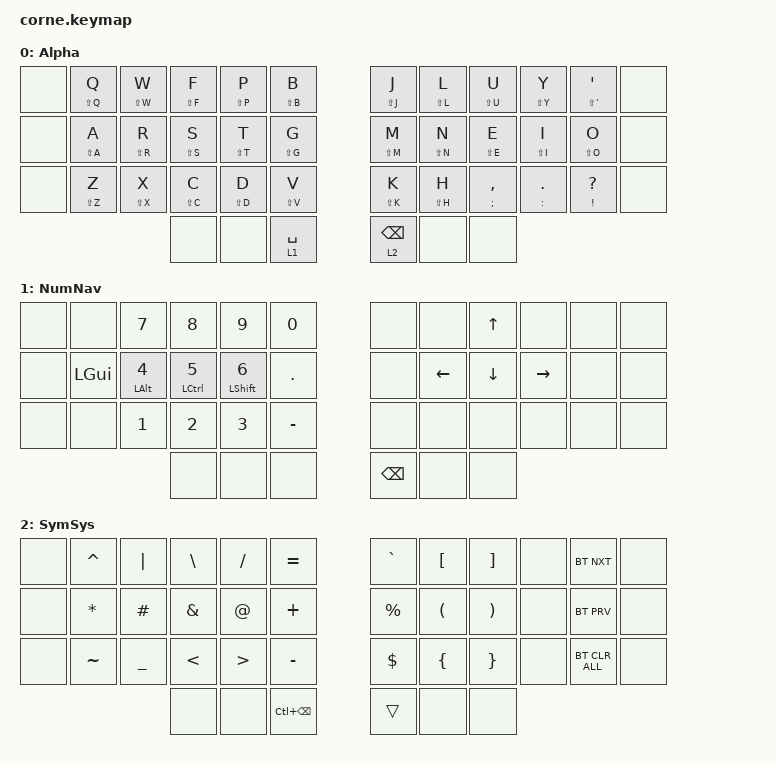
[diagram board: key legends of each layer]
/*
 * Copyright (c) 2020 The ZMK Contributors
 *
 * SPDX-License-Identifier: MIT
 */

#include <behaviors.dtsi>
#include <dt-bindings/zmk/bt.h>
#include <dt-bindings/zmk/keys.h>

&mt {
    flavor = "tap-preferred";
    require-prior-idle-ms = <150>;
};

/ {
    behaviors {
        as: as {
            compatible = "zmk,behavior-hold-tap";
            label = "AS";
            bindings = <&kp>, <&kp>;

            #binding-cells = <2>;
            tapping-term-ms = <200>;
            quick-tap-ms = <0>;
            flavor = "tap-preferred";
        };
    };

    combos {
        compatible = "zmk,combos";

        CapsWord {
            bindings = <&caps_word>;
            key-positions = <5 4>;
            layers = <0>;
            timeout-ms = <20>;
        };

        Enter {
            bindings = <&kp ENTER>;
            key-positions = <16 15>;
            timeout-ms = <20>;
            layers = <0 1>;
        };

        Tab {
            bindings = <&kp TAB>;
            key-positions = <16 17>;
            timeout-ms = <20>;
            layers = <0>;
        };

        Delete {
            bindings = <&kp DELETE>;
            key-positions = <4 3>;
            timeout-ms = <20>;
            layers = <0>;
        };

        Paste {
            bindings = <&kp LC(V)>;
            key-positions = <28 29>;
            timeout-ms = <20>;
            layers = <0>;
        };

        Copy {
            bindings = <&kp LC(C)>;
            key-positions = <27 28>;
            timeout-ms = <20>;
            layers = <0>;
        };

        Cut {
            bindings = <&kp LC(X)>;
            key-positions = <26 27>;
            timeout-ms = <20>;
            layers = <0>;
        };

        Undo {
            bindings = <&kp LC(Z)>;
            key-positions = <14 15>;
            timeout-ms = <20>;
            layers = <0>;
        };

        Escape {
            bindings = <&kp ESCAPE>;
            key-positions = <2 3>;
            timeout-ms = <20>;
            layers = <0>;
        };

        NumBackspace {
            bindings = <&kp BACKSPACE>;
            key-positions = <3 4>;
            timeout-ms = <20>;
            layers = <1>;
        };
    };

    keymap {
        compatible = "zmk,keymap";

        Alpha {
            // -----------------------------------------------------------------------------------------
            // |  TAB |  Q  |  W  |  E  |  R  |  T  |   |  Y  |  U   |  I  |  O  |  P  | BKSP |
            // | CTRL |  A  |  S  |  D  |  F  |  G  |   |  H  |  J   |  K  |  L  |  ;  |  '   |
            // | SHFT |  Z  |  X  |  C  |  V  |  B  |   |  N  |  M   |  ,  |  .  |  /  | ESC  |
            //                    | GUI | LWR | SPC |   | ENT | RSE  | ALT |

            display-name = "Alpha";
            bindings = <
&none  &as LS(Q) Q  &as LS(W) W  &as LS(F) F  &as LS(P) P  &as LS(B) B    &as LS(J) J      &as LS(L) L  &as LS(U) U          &as LS(Y) Y       &as LS(SQT) APOS          &none
&none  &as LS(A) A  &as LS(R) R  &as LS(S) S  &as LS(T) T  &as LS(G) G    &as LS(M) M      &as LS(N) N  &as LS(E) E          &as LS(I) I       &as LS(O) O               &none
&none  &as LS(Z) Z  &as LS(X) X  &as LS(C) C  &as LS(D) D  &as LS(V) V    &as LS(K) K      &as LS(H) H  &as SEMICOLON COMMA  &as COLON PERIOD  &as EXCLAMATION QUESTION  &none
                                 &none        &none        &lt 1 SPACE    &lt 2 BACKSPACE  &none        &none
            >;
        };

        NumNav {
            label = "NumNav";
            bindings = <
&none  &none         &kp N7           &kp N8        &kp N9        &kp N0        &none          &none           &kp UP_ARROW    &none      &none  &none
&none  &kp LEFT_GUI  &mt LEFT_ALT N4  &mt LCTRL N5  &mt LSHFT N6  &kp PERIOD    &none          &kp LEFT_ARROW  &kp DOWN_ARROW  &kp RIGHT  &none  &none
&none  &none         &kp NUMBER_1     &kp NUMBER_2  &kp NUMBER_3  &kp MINUS     &none          &none           &none           &none      &none  &none
                                      &none         &none         &none         &kp BACKSPACE  &none           &none
            >;
        };

        SymSys {
            bindings = <
&none  &kp CARET     &kp PIPE        &kp BACKSLASH  &kp SLASH  &kp EQUAL            &kp GRAVE    &kp LBKT  &kp RBKT  &none  &bt BT_NXT      &none
&none  &kp ASTERISK  &kp HASH        &kp AMPERSAND  &kp AT     &kp PLUS             &kp PERCENT  &kp LPAR  &kp RPAR  &none  &bt BT_PRV      &none
&none  &kp TILDE     &kp UNDERSCORE  &kp LT         &kp GT     &kp MINUS            &kp DOLLAR   &kp LBRC  &kp RBRC  &none  &bt BT_CLR_ALL  &none
                                     &none          &none      &kp LC(BACKSPACE)    &trans       &none     &none
            >;

            label = "SymSys";
        };
    };
};
